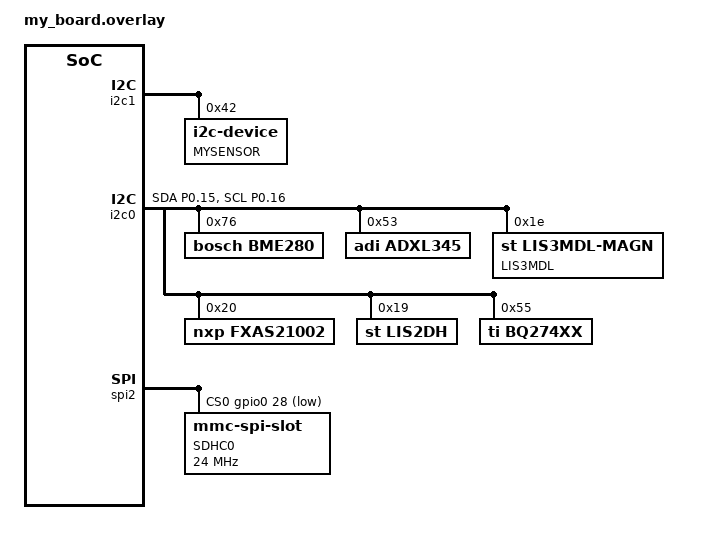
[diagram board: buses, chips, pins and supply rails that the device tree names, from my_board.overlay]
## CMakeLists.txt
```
# SPDX-License-Identifier: Apache-2.0

cmake_minimum_required(VERSION 3.20.0)

set(DTS_ROOT   "${CMAKE_CURRENT_SOURCE_DIR}/../..")
set(BOARD_ROOT "${CMAKE_CURRENT_SOURCE_DIR}/../..")
set(SHIELD qorvo_dwm3000)
set(BOARD my_board)

find_package(Zephyr REQUIRED HINTS $ENV{ZEPHYR_BASE})
project(hello_world)
add_definitions(-DSIMPLE_TX)


target_sources(app PRIVATE ../../config_options.c)
target_sources(app PRIVATE src/main.c)

target_sources(app PRIVATE ../../decadriver/deca_device.c)

target_sources(app PRIVATE ../../platform/port.c)
target_sources(app PRIVATE ../../platform/deca_sleep.c)
target_sources(app PRIVATE ../../platform/deca_spi.c)
target_sources(app PRIVATE ../../platform/port.c)

target_sources(app PRIVATE ../../shared_data/shared_functions.c)

target_include_directories(app PRIVATE ../../)
target_include_directories(app PRIVATE ../../decadriver/)
target_include_directories(app PRIVATE ../../platform/)
target_include_directories(app PRIVATE ../../compiler/)
target_include_directories(app PRIVATE ../../shared_data/)
```

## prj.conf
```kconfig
CONFIG_GPIO=y

# choose RTT console

#CONFIG_USE_SEGGER_RTT=y
#CONFIG_RTT_CONSOLE=y

# General config
CONFIG_UART_CONSOLE=n
#CONFIG_LOG=y
#CONFIG_LOG_DEFAULT_LEVEL=4

CONFIG_DEBUG=y

CONFIG_SPI=y

CONFIG_GPIO=y

CONFIG_PRINTK=y

CONFIG_USE_SEGGER_RTT=y
CONFIG_SEGGER_RTT_MAX_NUM_UP_BUFFERS=3
CONFIG_SEGGER_RTT_MAX_NUM_DOWN_BUFFERS=3
CONFIG_SEGGER_RTT_BUFFER_SIZE_UP=1024
CONFIG_SEGGER_RTT_BUFFER_SIZE_DOWN=16
CONFIG_SEGGER_RTT_PRINTF_BUFFER_SIZE=64
CONFIG_SEGGER_RTT_MODE_NO_BLOCK_SKIP=y

CONFIG_LOG_BACKEND_RTT=y
CONFIG_LOG_BACKEND_RTT_MODE_BLOCK=y
CONFIG_LOG_BACKEND_RTT_OUTPUT_BUFFER_SIZE=16
CONFIG_LOG_BACKEND_RTT_RETRY_CNT=4
CONFIG_LOG_BACKEND_RTT_RETRY_DELAY_MS=5
CONFIG_LOG_BACKEND_RTT_BUFFER=0

CONFIG_LOG=y
CONFIG_LOG_DEFAULT_LEVEL=3
CONFIG_LOG_OVERRIDE_LEVEL=0
CONFIG_LOG_MAX_LEVEL=4
CONFIG_LOG_FUNC_NAME_PREFIX_DBG=y

CONFIG_LOG_PRINTK=y
CONFIG_LOG_PRINTK_MAX_STRING_LENGTH=128
#CONFIG_LOG_MODE_OVERFLOW=y
#CONFIG_LOG_PROCESS_TRIGGER_THRESHOLD=10
#CONFIG_LOG_PROCESS_THREAD=y
#CONFIG_LOG_PROCESS_THREAD_SLEEP_MS=1000
#CONFIG_LOG_PROCESS_THREAD_STACK_SIZE=768
#CONFIG_LOG_BUFFER_SIZE=6144

CONFIG_LOG_BACKEND_SHOW_COLOR=n
CONFIG_LEGACY_INCLUDE_PATH=y
CONFIG_CBPRINTF_FP_SUPPORT=y

CONFIG_SERIAL=y
CONFIG_UART_ASYNC_API=y
CONFIG_UART_INTERRUPT_DRIVEN=n
CONFIG_PINCTRL=y
CONFIG_I2C=y
CONFIG_MAIN_STACK_SIZE=8192
CONFIG_DISK_ACCESS=y
CONFIG_FILE_SYSTEM=y
CONFIG_FAT_FILESYSTEM_ELM=y
CONFIG_DISK_DRIVER_SDMMC=y
CONFIG_CLOCK_CONTROL=y
CONFIG_CLOCK_CONTROL_NRF_K32SRC_RC=y
```

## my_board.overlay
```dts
// To get started, press Ctrl+Space to bring up the completion menu and view the available nodes.

// You can also use the buttons in the sidebar to perform actions on nodes.
// Actions currently available include:

// * Enabling / disabling the node
// * Adding the bus to a bus
// * Removing the node
// * Connecting ADC channels

// For more help, browse the DeviceTree documentation at https://docs.zephyrproject.org/latest/guides/dts/index.html
// You can also visit the nRF DeviceTree extension documentation at https://nrfconnect.github.io/vscode-nrf-connect/devicetree/nrfdevicetree.html

&i2c1 {
    compatible = "nordic,nrf-twim";
    status = "okay";
	pinctrl-0 = <&i2c1_default>;
	pinctrl-1 = <&i2c1_sleep>;
	pinctrl-names = "default", "sleep";
    mysensor: mysensor@42{
        compatible = "i2c-device";
        reg = < 0x42 >;
        label = "MYSENSOR";
    };
};


/*
Ovelay file for the U-blox XPLR-IOT-1 board
based on the Nordic nrf53dk board
 */



 // I2C and the board sensors

 &pinctrl{
    i2c0_default: i2c0_default {
		group1 {
			psels = <NRF_PSEL(TWIM_SDA, 0, 15)>,
				<NRF_PSEL(TWIM_SCL, 0, 16)>;
		};
	};

	i2c0_sleep: i2c0_sleep {
		group1 {
			psels = <NRF_PSEL(TWIM_SDA, 0, 15)>,
				<NRF_PSEL(TWIM_SCL, 0, 16)>;
			low-power-enable;
		};
	};
	
	
		spi2_default: spi2_default {
		group1 {
			psels = <NRF_PSEL(SPIM_SCK, 0, 25)>,
					<NRF_PSEL(SPIM_MOSI, 0, 14)>,
					<NRF_PSEL(SPIM_MISO, 0, 13)>;
		};
	};

	spi2_sleep: spi2_sleep {
		group1 {
			psels = <NRF_PSEL(SPIM_SCK, 0, 25)>,
					<NRF_PSEL(SPIM_MOSI, 0, 14)>,
					<NRF_PSEL(SPIM_MISO, 0, 13)>;
			low-power-enable;
		};
	};

 };

 &i2c0 {
     compatible = "nordic,nrf-twim";
     status = "okay";
     pinctrl-0 = <&i2c0_default>;
     pinctrl-1 = <&i2c0_sleep>;
     pinctrl-names = "default", "sleep";
 
     bme280@76 {
         compatible = "bosch,bme280";
         reg = <0x76>;
         label = "BME280";
     };
 
     adxl345@53 {
         compatible = "adi,adxl345";
         reg = <0x53>;
         label = "ADXL345";
     };
 
     lis3mdl@1e {
         compatible = "st,lis3mdl-magn";
         reg = <0x1e>;
         label = "LIS3MDL";
     };
 
     fxas21002@20 {
         compatible = "nxp,fxas21002";
         reg = <0x20>;
         label = "FXAS21002";
     };
 
     lis2dh@19 {
         compatible = "st,lis2dh";
         reg = <0x19>;
         label = "LIS2DH";
     };
 

 
     bq27421@55 {
         compatible = "ti,bq274xx";
         label = "BQ274XX";
         reg = <0x55>;
         design-voltage = <3700>;
         design-capacity = <1200>;
         taper-current = <45>;
         terminate-voltage = <3000>;
     };
 };
 
 
&spi2{
        status = "okay";
        cs-gpios = <&gpio0 28 GPIO_ACTIVE_LOW>;

        sdhc0: sdhc@0 {
                compatible = "zephyr,mmc-spi-slot";
                reg = <0>;
                status = "okay";
                label = "SDHC0";
                spi-max-frequency = <24000000>;
        };
};

&spi1{
	status = "disabled";
};

 
```

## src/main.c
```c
/*! ----------------------------------------------------------------------------
 *  @file    simple_rx.c
 *  @brief   Simple RX example code
 *
 * @attention
 *
 * Copyright 2015-2020 (c) Decawave Ltd, Dublin, Ireland.
 * Copyright 2021 (c) Callender-Consulting, LLC  (port to Zephyr)
 *
 * All rights reserved.
 *
 * @author Decawave
 */

#include <string.h>
#include <deca_device_api.h>
#include <deca_regs.h>
#include <deca_spi.h>
#include <port.h>
#include <shared_defines.h>

//zephyr includes
#include <zephyr.h>
#include <sys/printk.h>

#define LOG_LEVEL 3
#include <logging/log.h>
#include <zephyr/drivers/uart.h>
LOG_MODULE_REGISTER(simple_rx);

/* Example application name */
#define APP_NAME "SIMPLE RX v1.0"

    static dwt_config_t config = {
    .chan            = 5,               /* Channel number. */
    .txPreambLength  = DWT_PLEN_2048,    /* Preamble length. Used in TX only. */
    .rxPAC           = DWT_PAC32,        /* Preamble acquisition chunk size. Used in RX only. */
    .txCode          = 9,               /* TX preamble code. Used in TX only. */
    .rxCode          = 9,               /* RX preamble code. Used in RX only. */
    .sfdType         = 1,    /* 0 to use standard 8 symbol SFD */
    .dataRate        = DWT_BR_850K,      /* Data rate. */
    .phrMode         = DWT_PHRMODE_STD, /* PHY header mode. */
    .phrRate         = DWT_PHRRATE_STD, /* PHY header rate. */
    .sfdTO           = (2049 + 8 - 32),   /* SFD timeout */
    .stsMode         = DWT_STS_MODE_OFF,
    .stsLength       = DWT_STS_LEN_64,  /* STS length, see allowed values in Enum dwt_sts_lengths_e */
    .pdoaMode        = DWT_PDOA_M0      /* PDOA mode off */
};

/*UART configuration*/
const struct device *uart= DEVICE_DT_GET(DT_NODELABEL(uart1));

const struct uart_config uart_cfg = {
		.baudrate = 115200,
		.parity = UART_CFG_PARITY_NONE,
		.stop_bits = UART_CFG_STOP_BITS_1,
		.data_bits = UART_CFG_DATA_BITS_8,
		.flow_ctrl = UART_CFG_FLOW_CTRL_NONE,
		
	};

static void uart_cb(const struct device *dev, struct uart_event *evt, void *user_data)
{
	switch (evt->type) {
	
	case UART_TX_DONE:
		// do something
		break;

	case UART_TX_ABORTED:
		// do something
		break;
		
	case UART_RX_RDY:
		// do something
		//for (int j=0;j<10;j++)
			//printk("%x",evt->data.rx.buf[evt->data.rx.offset+j]);
		//	printk("%x",rx_buf[j]);
		//printk("\n");

		break;
		

	case UART_RX_BUF_REQUEST:
		// do something
		break;

	case UART_RX_BUF_RELEASED:
		// do something
		break;
		
	case UART_RX_DISABLED:
		// do something
		break;

	case UART_RX_STOPPED:
		// do something
		break;
		
	default:
		break;
	}
}

uint8_t Get_CRC8(uint8_t * bufP, uint16_t len){
	uint8_t crc = 0x00;
	for (uint16_t i = 0; i < len; i ++)
	{
		crc ^= bufP[i ];
	}
	return crc;
}


/*Messages*/
static uint8_t tx_msg[] = {0x41, 0x8C, 0, 0x9A, 0x60, 0, 0, 0, 0, 0, 0, 0, 0, 'D', 'W', 0x10, 0x00, 0, 0, 0, 0};
static uint8_t tx_msg2[] = {0x41, 0x8C, 0, 0x9A, 0x60, 0, 0, 0, 0, 0, 0, 0, 0, 'D', 'W', 0x10, 0x00, 0, 0, 0, 0};
static uint8_t tx_resp_discovery[] = {0xC5, 0, 'D', 'E', 'C', 'A', 'W', 'A', 'V', 'E', 0x43, 0x33, 0, 0};
static uint8_t debug_msg[] = {'D', 'E', 'C', 'A', 'D','B'};
static uint8_t tx_final_msg[] = {0x41, 0x88, 0, 0xCA, 0xDE, 'W', 'A', 'V', 'E', 0x23, 0, 0, 0, 0, 0, 0, 0, 0, 0, 0, 0, 0};
#define FINAL_MSG_POLL_TX_TS_IDX 10
#define FINAL_MSG_RESP_RX_TS_IDX 14
#define FINAL_MSG_FINAL_TX_TS_IDX 18
/* Indexes to access to sequence number and destination address of the data frame in the tx_msg array. */
#define DATA_FRAME_SN_IDX 2
#define DATA_FRAME_DEST_IDX 5

/* Inter-frame delay period, in milliseconds. */
#define TX_DELAY_MS 1000

/* Buffer to store received frame. See NOTE 1 below. */
static uint8_t rx_buffer[FRAME_LEN_MAX];
/* Index to access to source address of the blink frame in the rx_buffer array. */
#define BLINK_FRAME_SRC_IDX 2
/* Buffer to store received frame. See NOTE 1 below. */
static uint8_t rx_buffer[FRAME_LEN_MAX];



extern dwt_txconfig_t txconfig_options;
dwt_txconfig_t txconfig_options3 =
{
    0x34,           /* PG delay. */
    0xfefefefe,      /* TX power. */
    0x0             /*PG count*/
};
/**
 * Application entry point.
 */
void main()
{
        /* Display application name on LCD. */
		Sleep(10000);
    LOG_INF(APP_NAME);
    /* Hold copy of status register state here for reference so that it can
     * be examined at a debug breakpoint. */
    uint32_t status_reg=0;
	peripherals_init();
    spi_peripheral_init();
    /* Hold copy of frame length of frame received (if good) so that it can
     * be examined at a debug breakpoint. */
    uint16_t frame_len=0;

        char dist_str[30];
        int j;
     	int i = sprintf(dist_str, "DWM3000 Good\r\n");


        port_set_dw_ic_spi_fastrate();

	     /* Reset DW IC */
	     reset_DWIC(); /* Target specific drive of RSTn line into DW IC low for a period. */

	     Sleep(2); // Time needed for DW3000 to start up (transition from INIT_RC to IDLE_RC, or could wait for SPIRDY event)

	     while (!dwt_checkidlerc()) /* Need to make sure DW IC is in IDLE_RC before proceeding */
	     { };

	     if (dwt_initialise(DWT_DW_INIT) == DWT_ERROR)
	     {
	         while (1)
	         { };
	     }

	     /* Enabling LEDs here for debug so that for each TX the D1 LED will flash on DW3000 red eval-shield boards. */
	     dwt_setleds(DWT_LEDS_ENABLE | DWT_LEDS_INIT_BLINK) ;

	     /* Configure DW IC. See NOTE 8 below. */
	     if(dwt_configure(&config)) /* if the dwt_configure returns DWT_ERROR either the PLL or RX calibration has failed the host should reset the device */
	     {
	         while (1)
	         { };
	     }

	     /* Configure the TX spectrum parameters (power, PG delay and PG count) */
	     dwt_configuretxrf(&txconfig_options3);

	     /* Loop forever sending and receiving frames periodically. */
	     while (1)
	     {

	         /* Activate reception immediately. See NOTE 4 below. */
	         dwt_rxenable(DWT_START_RX_IMMEDIATE);

	         /* Poll until a frame is properly received or an error occurs. See NOTE 5 below.
	          * STATUS register is 5 bytes long but, as the events we are looking at are in the lower bytes of the register, we can use this simplest API
	          * function to access it. */
	         while (!((status_reg = dwt_read32bitreg(SYS_STATUS_ID)) & (SYS_STATUS_RXFCG_BIT_MASK | SYS_STATUS_ALL_RX_ERR)))
	         { }
	         //HAL_UART_Transmit(&huart3,(uint8_t *)&debug_msg, sizeof(debug_msg),100);


	         if (status_reg & SYS_STATUS_RXFCG_BIT_MASK)
	         {
	             /* A frame has been received, read it into the local buffer. */
	             frame_len = dwt_read32bitreg(RX_FINFO_ID) & RX_FINFO_RXFLEN_BIT_MASK;
	             if (frame_len <= FRAME_LEN_MAX)
	             {
	                 dwt_readrxdata(rx_buffer, frame_len, 0);
	             }

	             /* TESTING BREAKPOINT LOCATION #1 */

	             /* Clear good RX frame event in the DW IC status register. */
	             dwt_write32bitreg(SYS_STATUS_ID, SYS_STATUS_RXFCG_BIT_MASK);

	             /* Validate the frame is the one expected as sent by "TX then wait for a response" example. */


	             if ((frame_len == 14) && (rx_buffer[0] == 0xC5) && (rx_buffer[10] == 0x43) && (rx_buffer[11] == 0x32))
	             {
	                 int i;

	                 /* Copy source address of blink in response destination address. */
	                 for (i = 0; i < 8; i++)
	                 {
	                     tx_msg[DATA_FRAME_DEST_IDX + i] = rx_buffer[BLINK_FRAME_SRC_IDX + i];
	                     tx_msg2[DATA_FRAME_DEST_IDX + i] = rx_buffer[BLINK_FRAME_SRC_IDX + i];
	                 }

	                 /* Write response frame data to DW IC and prepare transmission. See NOTE 6 below.*/
	                 dwt_writetxdata(sizeof(tx_msg), tx_msg, 0); /* Zero offset in TX buffer. */
	                 dwt_writetxfctrl(sizeof(tx_msg), 0, 0); /* Zero offset in TX buffer, no ranging. */

	                 /* Send the response. */
	                 dwt_starttx(DWT_START_TX_IMMEDIATE);

	                 /* Poll DW IC until TX frame sent event set. */
	                 while (!(dwt_read32bitreg(SYS_STATUS_ID) & SYS_STATUS_TXFRS_BIT_MASK))
	                 {

	                 };

	                 /* Clear TX frame sent event. */
	                 dwt_write32bitreg(SYS_STATUS_ID, SYS_STATUS_TXFRS_BIT_MASK);
	                 uint64_t resp_tx_ts = get_tx_timestamp_u64();
	                              uint64_t resp_rx_ts = get_rx_timestamp_u64();
	                              uint64_t time_u64 = resp_tx_ts-resp_rx_ts;




	                              //Send message to tag
                            	  uint8_t test[]={0x45,0x52};
                            	  Sleep(10);

                         	     //tx_msg2[j]=Get_CRC8(dist_str,j);
                	 	        //HAL_UART_Transmit(&huart3,(uint8_t *)&dist_str, sizeof(dist_str),100);
                	 	        final_msg_set_ts(&tx_final_msg[FINAL_MSG_RESP_RX_TS_IDX], resp_rx_ts);
                	 	        final_msg_set_ts(&tx_final_msg[FINAL_MSG_FINAL_TX_TS_IDX], resp_tx_ts);

                	 	       dwt_writetxdata(sizeof(tx_final_msg), tx_final_msg, 0); /* Zero offset in TX buffer. */
                	 	       dwt_writetxfctrl(sizeof(tx_final_msg)+FCS_LEN, 0, 0); /* Zero offset in TX buffer, no ranging. */
                	 	       dwt_starttx(DWT_START_TX_IMMEDIATE);

	                              while (!(dwt_read32bitreg(SYS_STATUS_ID) & SYS_STATUS_TXFRS_BIT_MASK))
	                             	                 {
	                            	 	         //HAL_UART_Transmit(&huart3,(uint8_t *)&test, sizeof(test),100);
	                            	 	         //HAL_Delay(100);

	                             	                 };

	         	                 dwt_write32bitreg(SYS_STATUS_ID, SYS_STATUS_TXFRS_BIT_MASK);

	                 /* Increment the data frame sequence number (modulo 256). */
	                 tx_msg[DATA_FRAME_SN_IDX]++;
	             }
	             else {
	            	 i = sprintf(dist_str, "RError\r\n");
	            	 //HAL_UART_Transmit(&huart3,(uint8_t *)&dist_str, i,100);
	             }
	         }
	         else
	         {
	        	 i = sprintf(dist_str, "RError\r\n");
	        	 //HAL_UART_Transmit(&huart3,(uint8_t *)&dist_str, i,100);
	             /* Clear RX error events in the DW IC status register. */
	             dwt_write32bitreg(SYS_STATUS_ID, SYS_STATUS_ALL_RX_ERR);
	         }
	     }

}

/*****************************************************************************************************************************************************
 * NOTES:
 *
 * 1. In this example, maximum frame length is set to 127 bytes which is 802.15.4 UWB standard maximum frame length. DW IC supports an extended
 *    frame length (up to 1023 bytes long) mode which is not used in this example.
 * 2. Manual reception activation is performed here but DW IC offers several features that can be used to handle more complex scenarios or to
 *    optimise system's overall performance (e.g. timeout after a given time, automatic re-enabling of reception in case of errors, etc.).
 * 3. We use polled mode of operation here to keep the example as simple as possible, but RXFCG and error/timeout status events can be used to generate
 *    interrupts. Please refer to DW IC User Manual for more details on "interrupts".
 ****************************************************************************************************************************************************/
```
